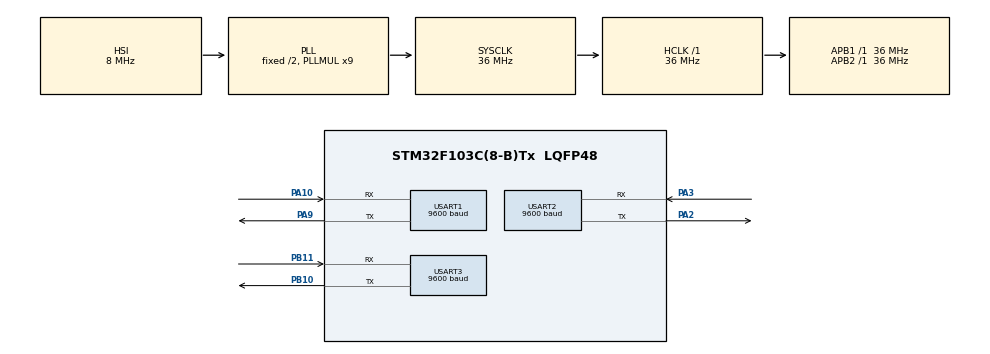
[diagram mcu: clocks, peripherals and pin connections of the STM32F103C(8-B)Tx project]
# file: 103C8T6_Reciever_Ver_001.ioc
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Mcu.Family=STM32F1
Mcu.Name=STM32F103C(8-B)Tx
Mcu.Package=LQFP48
NVIC.PriorityGroup=NVIC_PRIORITYGROUP_4
NVIC.USART2_IRQn=true\:0\:0\:false\:false\:true\:true\:true\:true
NVIC.USART3_IRQn=true\:0\:0\:false\:false\:true\:true\:true\:true
PA10.Mode=Asynchronous
PA10.Signal=USART1_RX
PA13.Mode=Serial_Wire
PA13.Signal=SYS_JTMS-SWDIO
PA14.Mode=Serial_Wire
PA14.Signal=SYS_JTCK-SWCLK
PA2.Mode=Asynchronous
PA2.Signal=USART2_TX
PA3.Mode=Asynchronous
PA3.Signal=USART2_RX
PA9.Mode=Asynchronous
PA9.Signal=USART1_TX
PB10.Mode=Asynchronous
PB10.Signal=USART3_TX
PB11.Mode=Asynchronous
PB11.Signal=USART3_RX
PC14-OSC32_IN.Mode=LSE-External-Oscillator
PC14-OSC32_IN.Signal=RCC_OSC32_IN
PC15-OSC32_OUT.Mode=LSE-External-Oscillator
PC15-OSC32_OUT.Signal=RCC_OSC32_OUT
PD0-OSC_IN.Mode=HSE-External-Oscillator
PD0-OSC_IN.Signal=RCC_OSC_IN
PD1-OSC_OUT.Mode=HSE-External-Oscillator
PD1-OSC_OUT.Signal=RCC_OSC_OUT
ProjectManager.HeapSize=0x200
ProjectManager.StackSize=0x400
ProjectManager.TargetToolchain=STM32CubeIDE
RCC.AHBFreq_Value=36000000
RCC.APB1Freq_Value=36000000
RCC.APB1TimFreq_Value=36000000
RCC.APB2Freq_Value=36000000
RCC.APB2TimFreq_Value=36000000
RCC.HCLKFreq_Value=36000000
RCC.PLLMUL=RCC_PLL_MUL9
RCC.SYSCLKFreq_VALUE=36000000
RCC.SYSCLKSource=RCC_SYSCLKSOURCE_PLLCLK
RCC.USBFreq_Value=36000000
USART1.BaudRate=9600
USART1.VirtualMode=VM_ASYNC
USART2.BaudRate=9600
USART2.VirtualMode=VM_ASYNC
USART3.BaudRate=9600
USART3.VirtualMode=VM_ASYNC
board=custom

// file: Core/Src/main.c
/* USER CODE BEGIN Header */
/**
 ******************************************************************************
 * @file           : main.c
 * @brief          : Main program body
 ******************************************************************************
 * @attention
 *
 * Copyright (c) 2025 STMicroelectronics.
 * All rights reserved.
 *
 * This software is licensed under terms that can be found in the LICENSE file
 * in the root directory of this software component.
 * If no LICENSE file comes with this software, it is provided AS-IS.
 *
 ******************************************************************************
 */
/* USER CODE END Header */
#include "main.h"

/* USER CODE BEGIN Includes */
#include <string.h>
#include <stdio.h>
#include <stdint.h>
/* USER CODE END Includes */

UART_HandleTypeDef huart1;
UART_HandleTypeDef huart2;
UART_HandleTypeDef huart3;

/* USER CODE BEGIN PV */
#define BT_RBUF_SIZE 128

volatile uint8_t bt_buf[BT_RBUF_SIZE];
volatile uint16_t bt_head = 0, bt_tail = 0;

uint8_t bt_rx;      // From HC05 (UART2)
uint8_t pc_rx;
/* USER CODE END PV */

void SystemClock_Config(void);
static void MX_GPIO_Init(void);
static void MX_USART1_UART_Init(void);
static void MX_USART2_UART_Init(void);
static void MX_USART3_UART_Init(void);
/* USER CODE BEGIN PFP */
static inline void bt_push(uint8_t b);
static inline int bt_pop(uint8_t *out);
/* USER CODE END PFP */

/* USER CODE BEGIN 0 */
void HAL_UART_RxCpltCallback(UART_HandleTypeDef *huart) {
	// ---- HC05 → STM32 (store only, don't transmit here) ----
	if (huart->Instance == USART2) {
		bt_push(bt_rx);                         // put in buffer
		HAL_UART_Receive_IT(&huart2, &bt_rx, 1); // arm next byte
	}

	// ---- PC → HC05 ----
	if (huart->Instance == USART1) {
		HAL_UART_Transmit(&huart2, &pc_rx, 1, 1);
		HAL_UART_Receive_IT(&huart1, &pc_rx, 1);
	}
}

static inline void bt_push(uint8_t b) {
	uint16_t next = (bt_head + 1) % BT_RBUF_SIZE;
	if (next != bt_tail)       // drop byte if buffer full
			{
		bt_buf[bt_head] = b;
		bt_head = next;
	}
}

static inline int bt_pop(uint8_t *out) {
	if (bt_head == bt_tail)
		return 0;

	*out = bt_buf[bt_tail];
	bt_tail = (bt_tail + 1) % BT_RBUF_SIZE;
	return 1;
}

/* USER CODE END 0 */

int main(void) {

	/* MCU Configuration--------------------------------------------------------*/

	/* Reset of all peripherals, Initializes the Flash interface and the Systick. */
	HAL_Init();

	/* Configure the system clock */
	SystemClock_Config();

	/* Initialize all configured peripherals */
	MX_GPIO_Init();
	MX_USART1_UART_Init();
	MX_USART2_UART_Init();
	MX_USART3_UART_Init();
	/* USER CODE BEGIN 2 */
	char msg[] = "\r\nHC05 -> STM32 (INT, buffered) -> PC + ESP32 @9600\r\n";
	HAL_UART_Transmit(&huart1, (uint8_t*) msg, strlen(msg), HAL_MAX_DELAY);

	// Start RX interrupts
	HAL_UART_Receive_IT(&huart1, &pc_rx, 1);   // PC → HC05
	HAL_UART_Receive_IT(&huart2, &bt_rx, 1);   // HC05 → buffer

	/* USER CODE END 2 */

	/* Infinite loop */
	while (1) {

		/* USER CODE BEGIN 3 */
		uint8_t b;

		// Pop bytes from HC05 ring buffer and forward
		while (bt_pop(&b)) {
			// To PC
			HAL_UART_Transmit(&huart1, &b, 1, HAL_MAX_DELAY);

			// To ESP32
			HAL_UART_Transmit(&huart3, &b, 1, HAL_MAX_DELAY);
		}

	}
	/* USER CODE END 3 */
}

void SystemClock_Config(void) {
	RCC_OscInitTypeDef RCC_OscInitStruct = { 0 };
	RCC_ClkInitTypeDef RCC_ClkInitStruct = { 0 };

	/** Initializes the RCC Oscillators according to the specified parameters
	 * in the RCC_OscInitTypeDef structure.
	 */
	RCC_OscInitStruct.OscillatorType = RCC_OSCILLATORTYPE_HSI;
	RCC_OscInitStruct.HSIState = RCC_HSI_ON;
	RCC_OscInitStruct.HSICalibrationValue = RCC_HSICALIBRATION_DEFAULT;
	RCC_OscInitStruct.PLL.PLLState = RCC_PLL_ON;
	RCC_OscInitStruct.PLL.PLLSource = RCC_PLLSOURCE_HSI_DIV2;
	RCC_OscInitStruct.PLL.PLLMUL = RCC_PLL_MUL9;
	if (HAL_RCC_OscConfig(&RCC_OscInitStruct) != HAL_OK) {
		Error_Handler();
	}

	/** Initializes the CPU, AHB and APB buses clocks
	 */
	RCC_ClkInitStruct.ClockType = RCC_CLOCKTYPE_HCLK | RCC_CLOCKTYPE_SYSCLK
			| RCC_CLOCKTYPE_PCLK1 | RCC_CLOCKTYPE_PCLK2;
	RCC_ClkInitStruct.SYSCLKSource = RCC_SYSCLKSOURCE_PLLCLK;
	RCC_ClkInitStruct.AHBCLKDivider = RCC_SYSCLK_DIV1;
	RCC_ClkInitStruct.APB1CLKDivider = RCC_HCLK_DIV1;
	RCC_ClkInitStruct.APB2CLKDivider = RCC_HCLK_DIV1;

	if (HAL_RCC_ClockConfig(&RCC_ClkInitStruct, FLASH_LATENCY_1) != HAL_OK) {
		Error_Handler();
	}
}

static void MX_USART1_UART_Init(void) {

	huart1.Instance = USART1;
	huart1.Init.BaudRate = 9600;
	huart1.Init.WordLength = UART_WORDLENGTH_8B;
	huart1.Init.StopBits = UART_STOPBITS_1;
	huart1.Init.Parity = UART_PARITY_NONE;
	huart1.Init.Mode = UART_MODE_TX_RX;
	huart1.Init.HwFlowCtl = UART_HWCONTROL_NONE;
	huart1.Init.OverSampling = UART_OVERSAMPLING_16;
	if (HAL_UART_Init(&huart1) != HAL_OK) {
		Error_Handler();
	}

}

static void MX_USART2_UART_Init(void) {

	huart2.Instance = USART2;
	huart2.Init.BaudRate = 9600;
	huart2.Init.WordLength = UART_WORDLENGTH_8B;
	huart2.Init.StopBits = UART_STOPBITS_1;
	huart2.Init.Parity = UART_PARITY_NONE;
	huart2.Init.Mode = UART_MODE_TX_RX;
	huart2.Init.HwFlowCtl = UART_HWCONTROL_NONE;
	huart2.Init.OverSampling = UART_OVERSAMPLING_16;
	if (HAL_UART_Init(&huart2) != HAL_OK) {
		Error_Handler();
	}

}

static void MX_USART3_UART_Init(void) {

	huart3.Instance = USART3;
	huart3.Init.BaudRate = 9600;
	huart3.Init.WordLength = UART_WORDLENGTH_8B;
	huart3.Init.StopBits = UART_STOPBITS_1;
	huart3.Init.Parity = UART_PARITY_NONE;
	huart3.Init.Mode = UART_MODE_TX_RX;
	huart3.Init.HwFlowCtl = UART_HWCONTROL_NONE;
	huart3.Init.OverSampling = UART_OVERSAMPLING_16;
	if (HAL_UART_Init(&huart3) != HAL_OK) {
		Error_Handler();
	}

}

static void MX_GPIO_Init(void) {

	/* GPIO Ports Clock Enable */
	__HAL_RCC_GPIOC_CLK_ENABLE();
	__HAL_RCC_GPIOD_CLK_ENABLE();
	__HAL_RCC_GPIOA_CLK_ENABLE();
	__HAL_RCC_GPIOB_CLK_ENABLE();

}

void Error_Handler(void) {
	__disable_irq();
	while (1) {
	}
}
